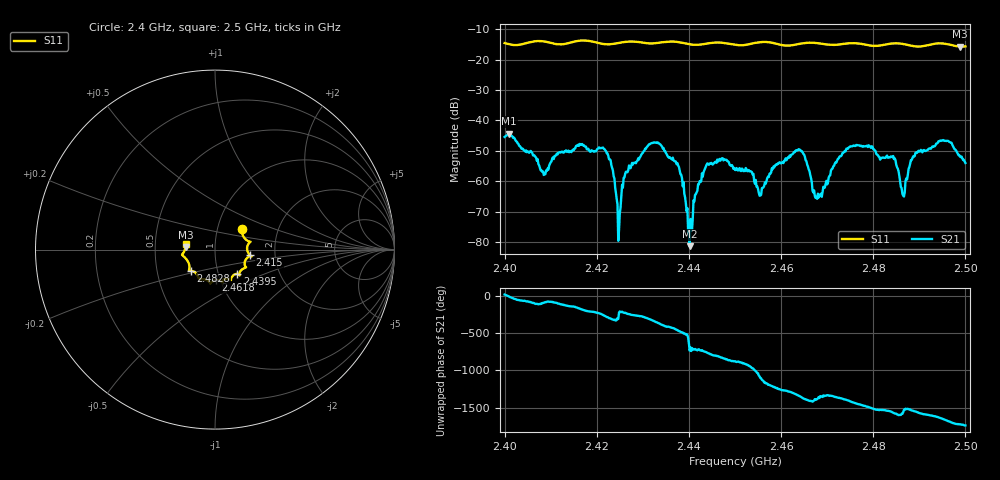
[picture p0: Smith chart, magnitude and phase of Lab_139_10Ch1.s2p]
# Hz S RI R 50
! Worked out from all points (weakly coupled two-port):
!   601 points, 2.4 GHz to 2.5 GHz, reference 50 ohm
!   highest |S21| = -44.29 dB at 2.401 GHz (marker M1); lowest = -81.4 dB at 2.4402 GHz (marker M2)
!   lowest |S11| = -15.7 dB at 2.4988 GHz (marker M3), VSWR 1.39, Z = 35.9 + j0.9 ohm
!   |S11| at or under -10 dB: start of sweep to end of sweep
!   S12 and S22 are empty: the file has one direction only
!   S11 on the Smith chart (normalised r, x): 2.4 GHz: 1.31, +0.31; 2.415 GHz: 1.48, -0.10; 2.4395 GHz: 1.23, -0.34; 2.4618 GHz: 0.95, -0.34; 2.4828 GHz: 0.74, -0.18; 2.5 GHz: 0.72, +0.05
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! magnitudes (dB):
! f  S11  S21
! 2.4 GHz  -14.5  -45.4
! 2.401 GHz  -14.9  -44.3
! 2.4083 GHz  -13.9  -56.8
! 2.415 GHz  -14.1  -49.8
! 2.4167 GHz  -13.7  -47.9
! 2.422 GHz  -14.9  -50.0
! 2.4248 GHz  -14.4  -76.0
! 2.4267 GHz  -14.1  -57.1
! 2.4333 GHz  -14.4  -47.3
! 2.4395 GHz  -14.7  -69.9
! 2.4402 GHz  -14.9  -81.4
! 2.4438 GHz  -14.7  -54.6
! 2.45 GHz  -15.1  -56.3
! 2.4555 GHz  -14.2  -64.7
! 2.4618 GHz  -15.3  -51.6
! 2.4667 GHz  -14.4  -60.3
! 2.4828 GHz  -14.9  -51.9
! 2.4833 GHz  -14.8  -52.3
! 2.4863 GHz  -14.8  -64.2
! 2.4897 GHz  -15.7  -50.3
! 2.4988 GHz  -15.7  -51.9
! 2.5 GHz  -15.6  -54.0
